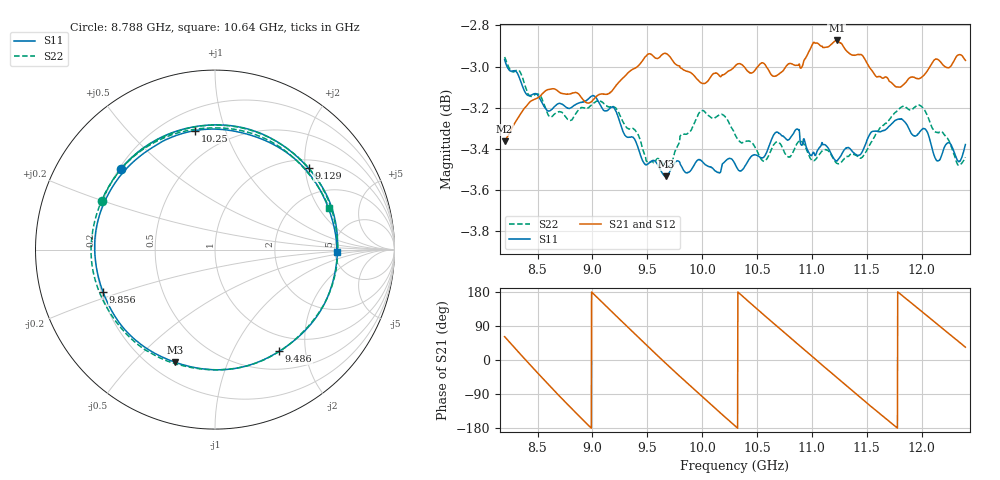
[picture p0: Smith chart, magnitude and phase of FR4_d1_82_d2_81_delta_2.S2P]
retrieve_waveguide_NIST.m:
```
%#######################################################################
% multiple frequency in a waveguide environment
% sample has thickness delta, total length of the waveguide is d1+delta+d2
% 
% NIST Iterative
% 
% Advantages of NIST iterative method
% · Smooth permittivity results, no divergence.
% · Accurate.
% · Arbitrary length of samples can be used.
% · Robust for low loss and high loss materials.
% 
% Disadvantages of NIST iterative method
% · Applicable for permittivity measurement only.
% · Need initial guess of permittivity value.
% 
% algorithm details can be found in NIST Technical Notes 1355-R/1341 or R&S
% tech notes
% 
% how to choose algorithm
% +---------------------+---------+-------+----------+
% | Material length/    | Methods | Speed | Accuracy |
% | magnetic properties |         |       |          |
% +=====================+=========+=======+==========+
% | Lossy solids+       |   NRW   |  Fast |  Medium  |
% | short+              |         |       |          |
% | non-magnetics       |         |       |          |
% +---------------------+---------+-------+----------+
% | low loss solids+    |   ITER  |  Slow |  Medium  |
% | short+              |         |       |          |
% | magnetics/non-mag.  |         |       |          |
% +---------------------+---------+-------+----------+
% | low loss solids+    |   NIST  |  Slow |   Good   |
% | long+               |         |       |          |
% | non-magnetics       |         |       |          |
% +---------------------+---------+-------+----------+
% | low loss solids+    |   NNI   |  Fast |   Good   |
% | long+               |         |       |          |
% | non-magnetics       |         |       |          |
% +---------------------+---------+-------+----------+
% 
% nanshu.wu@gmail.com
%#######################################################################
clear
clc
%#######################################################################
% tic
filename_1='dataset/FR4_d1_82_d2_81_delta_2.S2P';
filename_2='data/retrieve s21 ptfe lossy d 30 d1 75.15 d2 48.85.txt';
is_simu=0;% simulation, choose 1; experiment choose 0;
a=22.86e-3; % waveguide size
h=10.16e-3; % waveguide size
delta=2e-3; % sample thickness
d1=82e-3; % distance from port1 to sample front face
d2=81e-3; % distance from port2 to sample end face
n=-5:5;% branches
smooth_method=0;
maxe_k=8;
ave_n=10;
gap_correction==1;
hg=0e-3; % gap in height
data_correction_method=1;
ds=1; % sampling interval
plot_type=1; % plot type
%#######################################################################
eps0=8.85e-12; 
mu0=4*pi*1e-7; 
c=1/sqrt(eps0*mu0);
f_cutoff=c/a/2;
legend_str=strings(length(n),1);
for ni=1:length(n)
legend_str{ni} = ['n=' num2str(n(ni))];
end
%#######################################################################
% import data
switch is_simu
    case 1
        [ f, S11_re, S11_img ]=readS( filename_1,3,ds);
        [ ~, S21_re, S21_img ]=readS( filename_2,3,ds);
        S11_mag=abs(S11_re+1i.*S11_img);
        S11_phase=angle(S11_re+1i.*S11_img);
        S21_mag=abs(S21_re+1i.*S21_img);
        S21_phase=angle(S21_re+1i.*S21_img);
    case 0
        [ f, S11_mag, S11_phase, S21_mag, S21_phase,S12_mag,S12_phase,S22_mag,S22_phase ]=readS_fromtest( filename_1,9,ds);
        f=f./1e9;
end
%#######################################################################
f=f.*1E9;
omega=2*pi*f;
beta0=sqrt((omega./c).^2-(pi/a).^2);
Z0=omega.*mu0./beta0;
lambda0=c./f;
lambdac=2*a;
lambda0g=lambda0./sqrt(1-(f_cutoff./f).^2);
group_delay_calculated=zeros(length(f),length(n));
R1=exp(-1i.*beta0.*d1);R2=exp(-1i.*beta0.*d2);
s11=(S11_mag.*exp(1i.*S11_phase))./(R1.^2);
s21=(S21_mag.*exp(1i.*S21_phase))./(R1.*R2);
X=(s11.^2-s21.^2+1)./2./s11;
ri_1=X+sqrt(X.^2-1);
ri_2=X-sqrt(X.^2-1);
if sum(abs(ri_1)<=1)==length(f)
    ri=ri_1;
elseif sum(abs(ri_1)<=1)==0
    ri=ri_2;
else
    ri(abs(ri_1)<=1)=ri_1(abs(ri_1)<=1);
    ri(abs(ri_1)>1)=ri_2(abs(ri_1)>1);
end
if size(ri,2)>length(n)
    ri=ri';
end
T=(s11+s21-ri)./(1-ri.*(s11+s21));
group_delay_measured=-gradient(unwrap(angle(T)))./gradient(f)/pi/2;% Group Delay measured
Kamp=abs(1./T);Kphase=unwrap(angle(1./T));
K=log(Kamp)+1i.*(Kphase+2.*pi.*n);

id_1=1i.*(K./2./pi./delta);
id_2=-1i.*(K./2./pi./delta);
id(real(id_1)>0)=id_1(real(id_1)>0);
id(real(id_1)<=0)=id_2(real(id_1)<=0);
if size(id,2)>length(n)
    id=id';
end
id=reshape(id,length(f),[]);

mu_ret=ones(length(f),length(n));
eps_ret=lambda0.^2.*(id.^2+(1./lambdac).^2)./mu_ret;

% Calculate Group Delay
for ni=1:length(n)
    partial_p=sqrt(((eps_ret(:,ni).*mu_ret(:,ni))./(lambda0.^2))-(1./lambdac).^2);
    group_delay_calculated(:,ni)=delta.*gradient(partial_p)./gradient(f);
end
%#######################################################################
%Evaluate goodness of fit
R_square=zeros(1,length(n));
for ni=1:length(n)
    ymean=mean(real(group_delay_measured));
    SStot=sum((ymean-real(group_delay_measured)).^2);
    SSreg=sum((real(group_delay_calculated(:,ni))-ymean).^2);
    SSres=sum((real(group_delay_measured)-real(group_delay_calculated(:,ni))).^2);
    R_square(ni)=1-(SSres)./(SStot);
end
%#######################################################################
% Branch Selection
selected_branch_base=find(R_square>0,1,'first');
selected_branch_all=find(R_square>0);
bss=find(min(abs(sum(diff(real(eps_ret(:,selected_branch_all))))))==abs(sum(diff(real(eps_ret(:,selected_branch_all))))));
selected_branch=selected_branch_base+bss-1;
%#######################################################################
% Data correction
switch data_correction_method
    case 1
        s21_nr=s21.*(R1.*R2);
        s11_nr=s11.*(R1.^2);
        if is_simu==1
            s22=s11_nr;
            s12=s21_nr;% for reciprocal system
        else
            s12=S12_mag.*exp(1i.*S12_phase);
            s22=S22_mag.*exp(1i.*S22_phase);
        end
        de=1e-8;
        for fi=1:length(f)
            eps_g=eps_ret(fi,selected_branch);
            for ii=1:50
            Errf=0;
            EffF=0;
            eps_gr=real(eps_g);
            eps_gi=imag(eps_g);
            propc0=1i*beta0(fi);
            propc=@(eps_g) 1i.*sqrt(eps_g*eps0*mu0*omega(fi)^2-(2*pi/lambdac)^2);
            Gam=@(propc) (propc0-propc)/(propc0+propc);
            transcoef=@(propc) exp(-1*propc*delta);
            fepsr1=@(transcoef,Gam) s21_nr(fi)*s12(fi)-s11_nr(fi)*s22(fi)-exp(-2*propc0*(d1+d2))*((transcoef^2-Gam^2)/(1-(Gam*transcoef)^2));
            eps_gr_pd=((eps_gr+de)+1i*eps_gi);
            eps_gr_nd=((eps_gr-de)+1i*eps_gi);
            eps_gi_pd=(eps_gr+1i*(eps_gi+de));
            eps_gi_nd=(eps_gr+1i*(eps_gi-de));
            Jrer=real((fepsr1(transcoef(propc(eps_gr_pd)),Gam(propc(eps_gr_pd)))-fepsr1(transcoef(propc(eps_gr_nd)),Gam(propc(eps_gr_nd))))/de/2);
            Jrei=real((fepsr1(transcoef(propc(eps_gi_pd)),Gam(propc(eps_gi_pd)))-fepsr1(transcoef(propc(eps_gi_nd)),Gam(propc(eps_gi_nd))))/de/2);
            Jier=imag((fepsr1(transcoef(propc(eps_gr_pd)),Gam(propc(eps_gr_pd)))-fepsr1(transcoef(propc(eps_gr_nd)),Gam(propc(eps_gr_nd))))/de/2);
            Jiei=imag((fepsr1(transcoef(propc(eps_gi_pd)),Gam(propc(eps_gi_pd)))-fepsr1(transcoef(propc(eps_gi_nd)),Gam(propc(eps_gi_nd))))/de/2);
            feps_g=[real(fepsr1(transcoef(propc(eps_g)),Gam(propc(eps_g))));imag(fepsr1(transcoef(propc(eps_g)),Gam(propc(eps_g))))];
            ErrF=abs(fepsr1(transcoef(propc(eps_g)),Gam(propc(eps_g))));
            J=[Jrer,Jrei;Jier,Jiei];
            injav=inv(J);
            deps=-injav*feps_g;
            if sum(abs(deps))<h
                eps_ret(fi,selected_branch)=eps_g;
                break;
            end
            eps_g=eps_gr+deps(1)+1i*(eps_gi+deps(2));
            end
        end
    case 2
        s21_nr=s21.*exp(-1i.*beta0.*(d1+d2));
        s11_nr=s11.*exp(-1i.*2.*beta0.*d1);
        if is_simu==1
            s22=s11_nr;
            s12=s21_nr;% for reciprocal system
        else
            s12=S12_mag.*exp(1i.*S12_phase);
            s22=S22_mag.*exp(1i.*S22_phase);
        end
        de=1e-8;
        for fi=1:length(f)
            eps_g=eps_ret(fi,selected_branch);
            for ii=1:50
            Errf=0;
            eps_gr=real(eps_g);
            eps_gi=imag(eps_g);
            propc0=1i*beta0(fi);
            propc=@(eps_g) 1i.*sqrt(eps_g*eps0*mu0*omega(fi)^2-(2*pi/lambdac)^2);
            Gam=@(propc) (propc0-propc)/(propc0+propc);
            transcoef=@(propc) exp(-1*propc*delta);
            fepsr2=@(transcoef,Gam) 0.5*(s21_nr(fi)+s12(fi))-exp(-1*propc0*(d1+d2))*((transcoef*(1-Gam^2))/(1-(transcoef*Gam)^2));
            eps_gr_pd=((eps_gr+de)+1i*eps_gi);
            eps_gr_nd=((eps_gr-de)+1i*eps_gi);
            eps_gi_pd=(eps_gr+1i*(eps_gi+de));
            eps_gi_nd=(eps_gr+1i*(eps_gi-de));
            Jrer=real((fepsr2(transcoef(propc(eps_gr_pd)),Gam(propc(eps_gr_pd)))-fepsr2(transcoef(propc(eps_gr_nd)),Gam(propc(eps_gr_nd))))/de/2);
            Jrei=real((fepsr2(transcoef(propc(eps_gi_pd)),Gam(propc(eps_gi_pd)))-fepsr2(transcoef(propc(eps_gi_nd)),Gam(propc(eps_gi_nd))))/de/2);
            Jier=imag((fepsr2(transcoef(propc(eps_gr_pd)),Gam(propc(eps_gr_pd)))-fepsr2(transcoef(propc(eps_gr_nd)),Gam(propc(eps_gr_nd))))/de/2);
            Jiei=imag((fepsr2(transcoef(propc(eps_gi_pd)),Gam(propc(eps_gi_pd)))-fepsr2(transcoef(propc(eps_gi_nd)),Gam(propc(eps_gi_nd))))/de/2);
            feps_g=[real(fepsr2(transcoef(propc(eps_g)),Gam(propc(eps_g))));imag(fepsr2(transcoef(propc(eps_g)),Gam(propc(eps_g))))];
            ErrF=abs(fepsr2(transcoef(propc(eps_g)),Gam(propc(eps_g))));
            Errf=Errf+(abs(feps_g(1))+abs(feps_g(2))); 
            J=[Jrer,Jrei;Jier,Jiei];
            injav=inv(J);
            deps=-injav*feps_g;
            if sum(abs(deps))<h
                eps_ret(fi,selected_branch)=eps_g;
                break;
            end
                eps_g=eps_gr+deps(1)+1i*(eps_gi+deps(2));       
            end
        end
    otherwise
end
%#######################################################################
% Air gap correction
if gap_correction==1
    hm=h-hg;
    % for eps
    eps_cr=real(eps_ret).*(hm./(h-(h-hm).*real(eps_ret)));
    ltanm=-imag(eps_ret)./real(eps_ret);
    ltanc=ltanm.*(h./(h-(h-hm).*real(eps_ret)));
    eps_ci=-1.*ltanc.*eps_cr;
    eps_ret=eps_cr+1i.*eps_ci;
end
%#######################################################################
% Smoothing
switch smooth_method
    case 1 % The method of maximum entropy
        for ni=1:length(n)
            eps_ret_r=real(eps_ret(:,ni));
            eps_ret_i=imag(eps_ret(:,ni));
    %         smooth_k=8; % k power least squares fit
            aki=ones(length(f),maxe_k);
            Moments=zeros(1,maxe_k);
            % Moments(1)=1;
            for akii=1:maxe_k
               aki(:,akii)=aki(:,akii).*omega.^(akii);
            end
            aki=aki';
            for ki=1:maxe_k
                for fi=1:length(f)
                    Moments(ki)=Moments(ki)+aki(ki,fi).*eps_ret_r(fi);
                end
            end

            Atran=aki';
            matC=aki*Atran;
            matD=inv(matC);
            matE=matD*Moments';
            eps_sr=Atran*matE;

            Moments=zeros(1,maxe_k);
            for ki=1:maxe_k
                for fi=1:length(f)
                    Moments(ki)=Moments(ki)+aki(ki,fi).*eps_ret_i(fi);
                end
            end
            Atran=aki';
            matC=aki*Atran;
            matD=inv(matC);
            matE=matD*Moments';
            eps_si=Atran*matE;

            eps_ret(:,ni)=eps_sr+1i*eps_si;
        end
    case 2 % A general smooth method 
        eps_ret=smoothdata(eps_ret,'movmean',ave_n);
end
%#######################################################################
% correct store format
eps_ret=conj(eps_ret);
mu_ret=conj(mu_ret);
%#######################################################################
% figures
switch plot_type
    case 1
        fg1=figure(1);
        subplot(161); 
        plot(f/1e9,real(eps_ret(:,selected_branch)),'Color','k'); 
        xlabel('Frequency in GHz') 
        ylabel('Re(\epsilon)') 
        ylim([-10 10])
        subplot(162) 
        plot(f/1e9,imag(eps_ret(:,selected_branch)),'Color','k'); 
        xlabel('Frequency in GHz') 
        ylabel('Im(\epsilon)')
        ylim([-10 10])
        subplot(163);
        plot(f/1e9,real(mu_ret(:,selected_branch)),'Color','k'); 
        xlabel('Frequency in GHz')
        ylabel('Re(\mu)') 
        ylim([-10 10])
        subplot(164) 
        plot(f/1e9,imag(mu_ret(:,selected_branch)),'Color','k'); 
        xlabel('Frequency in GHz') 
        ylabel('Im(\mu)')
        ylim([-10 10])
        subplot(165)
        plot(f/1e9,imag(eps_ret(:,selected_branch))./real(eps_ret(:,selected_branch)),'Color','k'); 
        xlabel('Frequency in GHz') 
        ylabel('\epsilon tan(\delta)')
        subplot(166)
        plot(f/1e9,imag(mu_ret(:,selected_branch))./real(mu_ret(:,selected_branch)),'Color','k'); 
        xlabel('Frequency in GHz') 
        ylabel('\mu tan(\delta)')
        fg1.Position = [500 500 1600 500];
        fg1.Color='w';
    case 2
        legend_str={'Re(\epsilon)','Im(\epsilon)','\epsilon tan(\delta)','Re(\mu)','Im(\mu)','\mu tan(\delta)'};
        fg1=figure(1);
        plot(f/1e9,real(eps_ret(:,selected_branch)),...
            f/1e9,imag(eps_ret(:,selected_branch)),...
            f/1e9,imag(eps_ret(:,selected_branch))./real(eps_ret(:,selected_branch)),...
            f/1e9,real(mu_ret(:,selected_branch)),...
            f/1e9,imag(mu_ret(:,selected_branch)),...
            f/1e9,imag(mu_ret(:,selected_branch))./real(mu_ret(:,selected_branch))); 
        legend(legend_str,'Location','northeastoutside');
        xlabel('Frequency in GHz')
        fg1.Position = [500 500 800 500];
        fg1.Color='w';
end
```
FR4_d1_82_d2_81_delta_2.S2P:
!Agilent Technologies,E5071C,MY46631589,B.13.30
!Date: Sun May 30 22:21:31 2021
!Data & Calibration Information:
!Freq	S11:SOLT2(ON)	S21:SOLT2(ON)	S12:SOLT2(ON)	S22:SOLT2(ON)
!PortZ  Port1:50+j0  Port2:50+j0
!Above PortZ is port z conversion or system Z0 setting when saving the data.
!When reading, reference impedance value at option line is always used.
# Hz S MA R 50
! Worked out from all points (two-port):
!   1601 points, 8.2 GHz to 12.4 GHz, reference 50 ohm
!   highest |S21| = -2.87 dB at 11.23 GHz (marker M1); lowest = -3.4 dB at 8.2 GHz (marker M2)
!   |S21| within 3 dB of the highest: start of sweep to end of sweep
!   lowest |S11| = -3.5 dB at 9.673 GHz (marker M3), VSWR 4.98, Z = 14.8 - j33.4 ohm
!   |S11| at or under -10 dB: nowhere
!   |S22| runs from -3.5 to -3.0 dB; largest |S21 - S12| = 0.011
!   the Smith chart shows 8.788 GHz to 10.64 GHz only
!   S11 on the Smith chart (normalised r, x): 8.788 GHz: 0.21, +0.36; 9.129 GHz: 1.21, +2.09; 9.486 GHz: 0.75, -1.54; 9.856 GHz: 0.21, -0.17; 10.25 GHz: 0.33, +0.79; 10.64 GHz: 5.24, -0.22
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8.2e9  0.7108 -35.7  0.679 61.6  0.678 62.1  0.7118 -22.2
8.788e9  0.6916 139.4  0.6972 -121.3  0.6952 -120.9  0.687 156.7
9.12925e9  0.6907 41.0  0.6971 140.7  0.6965 141.0  0.6926 59.1
9.48625e9  0.6701 -57.8  0.7121 41.4  0.7112 41.7  0.6726 -40.1
9.672625e9  0.6657 -109.3  0.7131 -9.7  0.7106 -9.4  0.6698 -90.9
9.856375e9  0.6671 -159.4  0.7062 -58.9  0.7055 -58.4  0.6817 -139.6
1.025012e10  0.6725 99.4  0.7064 -161.0  0.7042 -160.5  0.6856 118.7
1.03e10  0.6704 86.8  0.7082 -173.8  0.7064 -173.2  0.6816 105.9
1.063862e10  0.6802 -0.9  0.7044 100.0  0.7047 100.6  0.6765 20.2
1.122662e10  0.6716 -148.1  0.7184 -46.0  0.7192 -45.3  0.6707 -124.6
1.24e10  0.6777 -68.9  0.7104 33.8  0.7079 34.6  0.6729 -44.4
